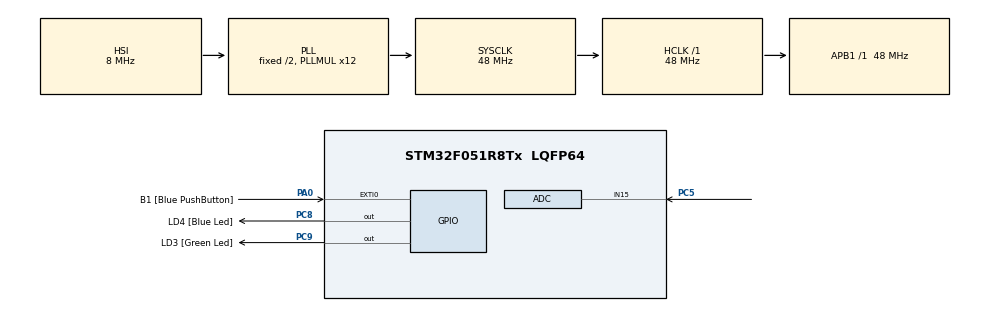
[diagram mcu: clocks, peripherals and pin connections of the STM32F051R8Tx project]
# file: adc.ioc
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FREERTOS.Tasks01=defaultTask,0,128,StartDefaultTask,Default
Mcu.Family=STM32F0
Mcu.Name=STM32F051R8Tx
Mcu.Package=LQFP64
NVIC.TIM17_IRQn=true\:0\:0\:false\:false\:true\:false
NVIC.TimeBase=TIM17_IRQn
NVIC.TimeBaseIP=TIM17
PA0.GPIO_Label=B1 [Blue PushButton]
PA0.GPIO_ModeDefaultEXTI=GPIO_MODE_EVT_RISING
PA0.Signal=GPXTI0
PA13.GPIO_Label=SWDIO
PA13.Signal=SYS_SWDIO
PA14.GPIO_Label=SWCLK
PA14.Signal=SYS_SWCLK
PC5.Mode=IN15
PC5.Signal=ADC_IN15
PC8.GPIO_Label=LD4 [Blue Led]
PC8.Signal=GPIO_Output
PC9.GPIO_Label=LD3 [Green Led]
PC9.Signal=GPIO_Output
ProjectManager.HeapSize=0x200
ProjectManager.StackSize=0x400
ProjectManager.TargetToolchain=MDK-ARM V5
RCC.AHBFreq_Value=48000000
RCC.APB1Freq_Value=48000000
RCC.APB1TimFreq_Value=48000000
RCC.HCLKFreq_Value=48000000
RCC.PLLMUL=RCC_PLL_MUL12
RCC.SYSCLKFreq_VALUE=48000000
RCC.SYSCLKSource=RCC_SYSCLKSOURCE_PLLCLK
VP_ADC_TempSens_Input.Mode=IN-TempSens
VP_ADC_Vbat_Input.Mode=IN-Vbat
VP_ADC_Vref_Input.Mode=IN-Vrefint
VP_CRC_VS_CRC.Mode=CRC_Activate
VP_FREERTOS_VS_ENABLE.Mode=Enabled
VP_SYS_VS_tim17.Mode=TIM17
board=STM32F0DISCOVERY

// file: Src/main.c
/**
  ******************************************************************************
  * File Name          : main.c
  * Description        : Main program body
  ******************************************************************************
  *
  * Copyright (c) 2016 STMicroelectronics International N.V.
  * All rights reserved.
  *
  * Redistribution and use in source and binary forms, with or without
  * modification, are permitted, provided that the following conditions are met:
  *
  * 1. Redistribution of source code must retain the above copyright notice,
  *    this list of conditions and the following disclaimer.
  * 2. Redistributions in binary form must reproduce the above copyright notice,
  *    this list of conditions and the following disclaimer in the documentation
  *    and/or other materials provided with the distribution.
  * 3. Neither the name of STMicroelectronics nor the names of other
  *    contributors to this software may be used to endorse or promote products
  *    derived from this software without specific written permission.
  * 4. This software, including modifications and/or derivative works of this
  *    software, must execute solely and exclusively on microcontroller or
  *    microprocessor devices manufactured by or for STMicroelectronics.
  * 5. Redistribution and use of this software other than as permitted under
  *    this license is void and will automatically terminate your rights under
  *    this license.
  *
  * THIS SOFTWARE IS PROVIDED BY STMICROELECTRONICS AND CONTRIBUTORS "AS IS"
  * AND ANY EXPRESS, IMPLIED OR STATUTORY WARRANTIES, INCLUDING, BUT NOT
  * LIMITED TO, THE IMPLIED WARRANTIES OF MERCHANTABILITY, FITNESS FOR A
  * PARTICULAR PURPOSE AND NON-INFRINGEMENT OF THIRD PARTY INTELLECTUAL PROPERTY
  * RIGHTS ARE DISCLAIMED TO THE FULLEST EXTENT PERMITTED BY LAW. IN NO EVENT
  * SHALL STMICROELECTRONICS OR CONTRIBUTORS BE LIABLE FOR ANY DIRECT, INDIRECT,
  * INCIDENTAL, SPECIAL, EXEMPLARY, OR CONSEQUENTIAL DAMAGES (INCLUDING, BUT NOT
  * LIMITED TO, PROCUREMENT OF SUBSTITUTE GOODS OR SERVICES; LOSS OF USE, DATA,
  * OR PROFITS; OR BUSINESS INTERRUPTION) HOWEVER CAUSED AND ON ANY THEORY OF
  * LIABILITY, WHETHER IN CONTRACT, STRICT LIABILITY, OR TORT (INCLUDING
  * NEGLIGENCE OR OTHERWISE) ARISING IN ANY WAY OUT OF THE USE OF THIS SOFTWARE,
  * EVEN IF ADVISED OF THE POSSIBILITY OF SUCH DAMAGE.
  *
  ******************************************************************************
  */
#include "main.h"
#include "stm32f0xx_hal.h"
#include "cmsis_os.h"
#include "adc.h"
#include "crc.h"
#include "gpio.h"

/* USER CODE BEGIN Includes */
#include "adctasks.h"
/* USER CODE END Includes */

/* USER CODE BEGIN PV */
/* Private variables ---------------------------------------------------------*/

/* USER CODE END PV */

void SystemClock_Config(void);
void Error_Handler(void);
void MX_FREERTOS_Init(void);

/* USER CODE BEGIN PFP */
/* Private function prototypes -----------------------------------------------*/

/* USER CODE END PFP */

int main(void)
{

  /* USER CODE BEGIN 1 */
  portBASE_TYPE heartbeattask, crccalctask, measurementtask ;
  /* USER CODE END 1 */

  /* MCU Configuration----------------------------------------------------------*/

  /* Reset of all peripherals, Initializes the Flash interface and the Systick. */
  HAL_Init();

  /* Configure the system clock */
  SystemClock_Config();

  /* Initialize all configured peripherals */
  MX_GPIO_Init();
  MX_ADC_Init();
  MX_CRC_Init();

  /* Call init function for freertos objects (in freertos.c) */
  MX_FREERTOS_Init();

  /* We should never get here as control is now taken by the scheduler */

  /* Infinite loop */
  /* USER CODE BEGIN WHILE */
	heartbeattask = xTaskCreate(HeartbeatFunction,
	                            "heartbeat",
															16 ,
															NULL ,
															configMAX_PRIORITIES-1 ,
															NULL );
	crccalctask = xTaskCreate(CRCCalcFunction,
	                            "crccalc",
															16 ,
															NULL ,
															configMAX_PRIORITIES-1 ,
															NULL );
	measurementtask = xTaskCreate(MeasurementFunction,
	                            "measurement",
															16 ,
															NULL ,
															configMAX_PRIORITIES-1 ,
															NULL );
	/* Start scheduler */
  osKernelStart();
	vTaskStartScheduler() ;
  while (1)
  {
  /* USER CODE END WHILE */

  }

}

/** System Clock Configuration
*/
void SystemClock_Config(void)
{

  RCC_OscInitTypeDef RCC_OscInitStruct;
  RCC_ClkInitTypeDef RCC_ClkInitStruct;

    /**Initializes the CPU, AHB and APB busses clocks
    */
  RCC_OscInitStruct.OscillatorType = RCC_OSCILLATORTYPE_HSI|RCC_OSCILLATORTYPE_HSI14;
  RCC_OscInitStruct.HSIState = RCC_HSI_ON;
  RCC_OscInitStruct.HSI14State = RCC_HSI14_ON;
  RCC_OscInitStruct.HSICalibrationValue = 16;
  RCC_OscInitStruct.HSI14CalibrationValue = 16;
  RCC_OscInitStruct.PLL.PLLState = RCC_PLL_ON;
  RCC_OscInitStruct.PLL.PLLSource = RCC_PLLSOURCE_HSI;
  RCC_OscInitStruct.PLL.PLLMUL = RCC_PLL_MUL12;
  RCC_OscInitStruct.PLL.PREDIV = RCC_PREDIV_DIV1;
  if (HAL_RCC_OscConfig(&RCC_OscInitStruct) != HAL_OK)
  {
    Error_Handler();
  }

    /**Initializes the CPU, AHB and APB busses clocks
    */
  RCC_ClkInitStruct.ClockType = RCC_CLOCKTYPE_HCLK|RCC_CLOCKTYPE_SYSCLK
                              |RCC_CLOCKTYPE_PCLK1;
  RCC_ClkInitStruct.SYSCLKSource = RCC_SYSCLKSOURCE_PLLCLK;
  RCC_ClkInitStruct.AHBCLKDivider = RCC_SYSCLK_DIV1;
  RCC_ClkInitStruct.APB1CLKDivider = RCC_HCLK_DIV1;

  if (HAL_RCC_ClockConfig(&RCC_ClkInitStruct, FLASH_LATENCY_1) != HAL_OK)
  {
    Error_Handler();
  }

    /**Configure the Systick interrupt time
    */
  HAL_SYSTICK_Config(HAL_RCC_GetHCLKFreq()/1000);

    /**Configure the Systick
    */
  HAL_SYSTICK_CLKSourceConfig(SYSTICK_CLKSOURCE_HCLK);

  /* SysTick_IRQn interrupt configuration */
  HAL_NVIC_SetPriority(SysTick_IRQn, 3, 0);
}

void HAL_TIM_PeriodElapsedCallback(TIM_HandleTypeDef *htim)
{
  if (htim->Instance == TIM17) {
    HAL_IncTick();
  }
}

void Error_Handler(void)
{
  while(1)
  {
  }
}

/************************ (C) COPYRIGHT STMicroelectronics *****END OF FILE****/
